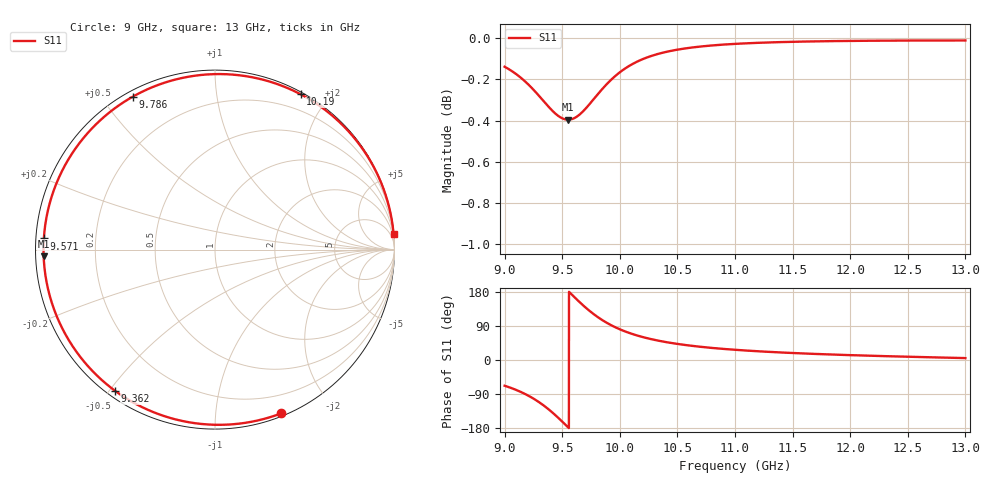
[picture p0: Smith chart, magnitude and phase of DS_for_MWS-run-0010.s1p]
! TOUCHSTONE file generated by CST DESIGN STUDIO
! Date and time: Tue Feb  4 13:24:02 2025
! Project name: C:\Work\MatlabApps\UnitCellOptimizationMatlab\CST\unitcell.cst
! Tree item: Tasks\Sweep1\SPara1\S-Parameters
! Header version: 2024
! Port assignment regex: !\s*Touchstone port\s*([0-9]+)\s*=\s*(CST MWS port|CST DES external port|CST DES block port)\s*(.+)\s* \(\"(.*)\"\)(\s*mode\s*([0-9]+))?.*
! Touchstone port assignment:
! Touchstone port 1 = CST DES external port 1 ("")
# GHz S MA R 50
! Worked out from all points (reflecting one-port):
!   4001 points, 9 GHz to 13 GHz, reference 50 ohm
!   lowest |S11| = -0.4 dB at 9.551 GHz (marker M1), VSWR 43.89, Z = 1.14 - j1 ohm
!   phase of S11 starts at -68 deg and turns -287 deg over the sweep
!   S11 on the Smith chart (normalised r, x): 9 GHz: 0.03, -1.49; 9.362 GHz: 0.02, -0.52; 9.571 GHz: 0.02, +0.03; 9.786 GHz: 0.02, +0.60; 10.19 GHz: 0.02, +1.69; 13 GHz: 0, +23
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9  0.9842 -67.9
9.04  0.9827 -72.0
9.105  0.9799 -79.6
9.216  0.9738 -95.8
9.293  0.9687 -110.1
9.362  0.9638 -125.3
9.429  0.9594 -142.4
9.5  0.9562 -162.5
9.551  0.9554 -177.7
9.571  0.9556 176.3
9.626  0.957 159.9
9.686  0.9602 143.0
9.736  0.9637 130.0
9.786  0.9675 118.2
9.832  0.9709 108.4
9.881  0.9743 99.2
9.936  0.9777 90.1
10  0.9811 81.0
10.091  0.985 70.4
10.191  0.9882 61.2
10.332  0.9913 51.2
10.5  0.9936 42.4
10.721  0.9955 34.2
11  0.9969 26.9
11.5  0.998 18.4
12  0.9985 12.8
12.5  0.9987 8.6
13  0.9988 5.0
